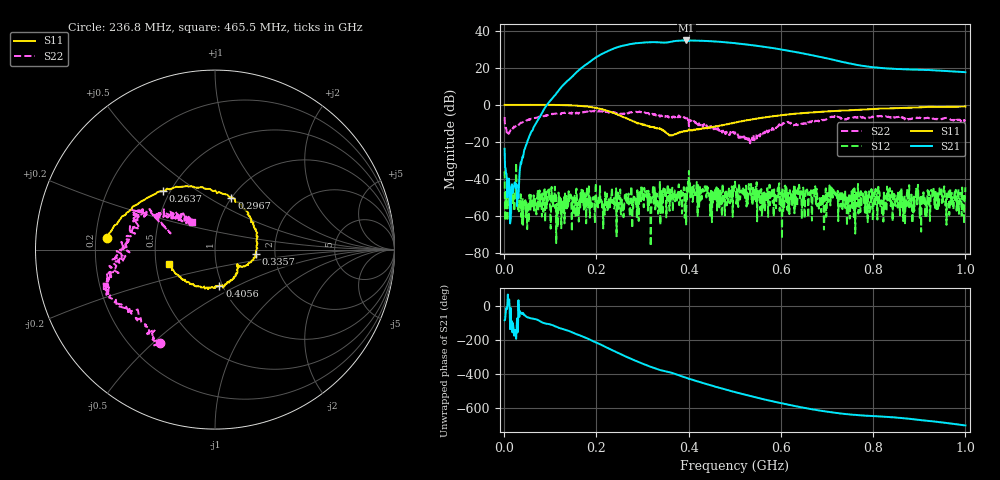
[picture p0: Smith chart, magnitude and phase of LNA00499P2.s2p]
! Created with skrf 1.9.0 (http://scikit-rf.org).
# Hz S RI R 50.0
!freq ReS11 ImS11 ReS21 ImS21 ReS12 ImS12 ReS22 ImS22
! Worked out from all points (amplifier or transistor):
!   1001 points, 1 MHz to 1 GHz, reference 50 ohm
!   highest |S21| = 34.9 dB at 394.6 MHz (marker M1)
!   |S21| within 3 dB of that: 255.3 MHz to 550.5 MHz (295.2 MHz wide, 73.3 % of centre)
!   unconditionally stable (mu >= 1): 24.62 MHz to 56.69 MHz; 208.4 MHz to 400.2 MHz; 400.8 MHz to end of sweep (the widest 3 of 38)
!   at 166.8 MHz: K = 1.79, MAG = 31.1 dB, |S12| = -52.7 dB
!   at 500.5 MHz: K = 1.24, MAG = 34.6 dB, |S12| = -41.6 dB
!   at 1 GHz: K = 2.09, MAG = 25.3 dB, |S12| = -44.7 dB
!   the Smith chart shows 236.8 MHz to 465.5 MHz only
!   S11 on the Smith chart (normalised r, x): 236.8 MHz: 0.25, +0.05; 263.7 MHz: 0.46, +0.37; 296.7 MHz: 1.00, +0.64; 335.7 MHz: 1.58, -0.07; 405.6 MHz: 0.96, -0.41; 465.5 MHz: 0.59, -0.10
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1000000  0.9986 0.0105  0.00511 -0.0646  -0.0155 -0.00399  0.3103 0.3493
1.08892e8  0.5282 -0.843  -0.8401 -1.543  -0.00105 -0.00201  0.418 -0.3849
1.67833e8  -0.2228 -0.901  -10.06 -0.4395  -0.00211 -0.00454  0.0035 -0.6289
2.07793e8  -0.6522 -0.4203  -15.76 15.96  0.00329 -0.00537  -0.2161 -0.6327
2.36764e8  -0.6025 0.0639  -4.048 33.1  0.00282 -7.31e-05  -0.3081 -0.5194
2.63737e8  -0.29 0.3261  18.8 37.09  0.00212 -0.00137  -0.4851 -0.3482
2.96704e8  0.0916 0.29  43.3 20.48  -0.00105 0.00222  -0.5999 -0.182
3.17683e8  0.2156 0.134  49.62 2.632  -0.000144 3.53e-05  -0.56 -0.1105
3.34666e8  0.2279 -0.0123  48.29 -11.11  -0.00133 -0.000532  -0.5269 0.000514
3.35665e8  0.2266 -0.0223  47.86 -12.09  -0.000585 0.00119  -0.5228 -0.00536
3.69631e8  0.1292 -0.094  42.13 -32.83  -0.00358 0.00322  -0.4312 0.1524
3.94606e8  0.0756 -0.1785  27.04 -48.58  -0.000291 -0.000461  -0.3993 0.1742
4.05595e8  0.0247 -0.2041  18.56 -52.3  0.00102 0.00333  -0.3148 0.2034
4.33567e8  -0.1216 -0.191  -3.36 -53.73  0.00456 9.51e-05  -0.2197 0.2099
4.65535e8  -0.256 -0.0805  -24.83 -44.84  0.00459 0.00132  -0.1279 0.153
5.005e8  -0.3151 0.104  -38.49 -27.26  -0.0028 0.0078  -0.1287 0.1285
5.4046e8  -0.246 0.3309  -40.49 -5.817  0.00369 0.00191  -0.1514 -0.00943
5.83417e8  -0.0665 0.4868  -32.35 11.43  0.000366 -0.0025  -0.2249 -0.046
6.67333e8  0.3231 0.5344  -9.387 19.92  -0.000472 -0.000558  -0.3598 0.063
7.32268e8  0.5518 0.431  0.0312 14.71  0.0028 -0.00367  -0.3893 0.1904
8.34166e8  0.7847 0.1708  3.291 9.074  -0.00321 0.000995  -0.2546 0.3875
1e9  0.8205 -0.3763  7.184 2.734  -0.0058 0.000658  0.1125 0.3416
